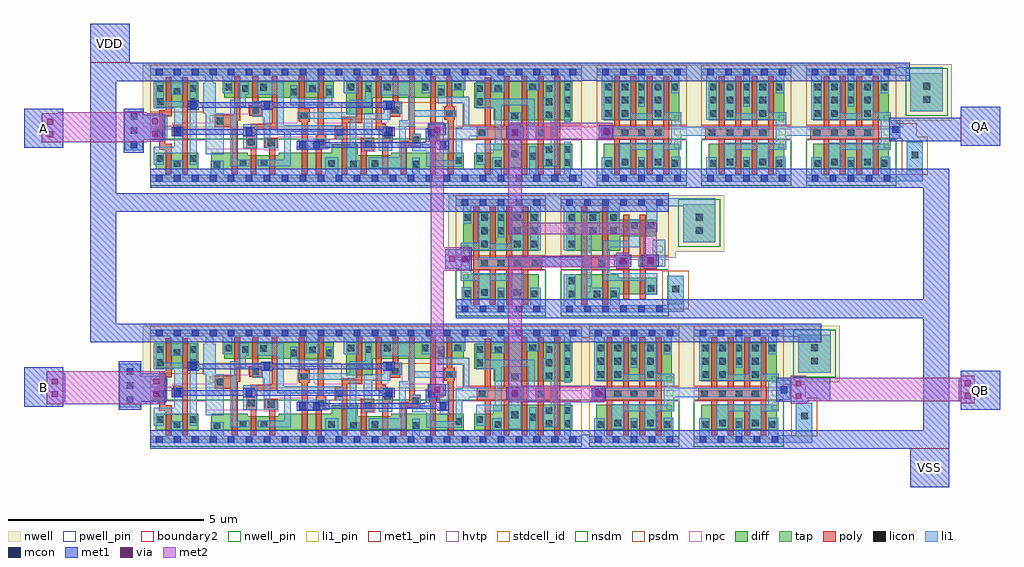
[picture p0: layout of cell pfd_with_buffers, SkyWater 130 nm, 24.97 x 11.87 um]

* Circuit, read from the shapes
.subckt pfd_with_buffers A B QA QB VDD VSS
XM1 VSS B n1 VSS sky130_fd_pr__nfet_01v8 w=0.42 l=0.15
XM2 VSS A n2 VSS sky130_fd_pr__nfet_01v8 w=0.42 l=0.15
XM3 n3 n1 VSS VSS sky130_fd_pr__nfet_01v8 w=0.42 l=0.15
XM4 n4 n2 VSS VSS sky130_fd_pr__nfet_01v8 w=0.42 l=0.15
XM5 n5 VDD VSS VSS sky130_fd_pr__nfet_01v8 w=0.42 l=0.15
XM6 n6 VDD VSS VSS sky130_fd_pr__nfet_01v8 w=0.42 l=0.15
XM7 n7 n1 n5 VSS sky130_fd_pr__nfet_01v8 w=0.36 l=0.15
XM8 n8 n2 n6 VSS sky130_fd_pr__nfet_01v8 w=0.36 l=0.15
XM9 n9 n3 n7 VSS sky130_fd_pr__nfet_01v8 w=0.36 l=0.15
XM10 n10 n4 n8 VSS sky130_fd_pr__nfet_01v8 w=0.36 l=0.15
XM11 n11 n12 n9 VSS sky130_fd_pr__nfet_01v8 w=0.42 l=0.15
XM12 n13 n14 n10 VSS sky130_fd_pr__nfet_01v8 w=0.42 l=0.15
XM13 VSS sky130_fd_sc_hd__dfrbp_2_0/RESET_B n11 VSS sky130_fd_pr__nfet_01v8 w=0.42 l=0.15
XM14 VSS sky130_fd_sc_hd__dfrbp_2_0/RESET_B n13 VSS sky130_fd_pr__nfet_01v8 w=0.42 l=0.15
XM15 n12 n7 VSS VSS sky130_fd_pr__nfet_01v8 w=0.64 l=0.15
XM16 n14 n8 VSS VSS sky130_fd_pr__nfet_01v8 w=0.64 l=0.15
XM17 n15 n3 n12 VSS sky130_fd_pr__nfet_01v8 w=0.36 l=0.15
XM18 n16 n4 n14 VSS sky130_fd_pr__nfet_01v8 w=0.36 l=0.15
XM19 n17 n1 n15 VSS sky130_fd_pr__nfet_01v8 w=0.36 l=0.15
XM20 n18 n2 n16 VSS sky130_fd_pr__nfet_01v8 w=0.36 l=0.15
XM21 VSS n19 n17 VSS sky130_fd_pr__nfet_01v8 w=0.42 l=0.15
XM22 VSS n20 n18 VSS sky130_fd_pr__nfet_01v8 w=0.42 l=0.15
XM23 n21 sky130_fd_sc_hd__dfrbp_2_0/RESET_B VSS VSS sky130_fd_pr__nfet_01v8 w=0.42 l=0.15
XM24 n22 sky130_fd_sc_hd__dfrbp_2_0/RESET_B VSS VSS sky130_fd_pr__nfet_01v8 w=0.42 l=0.15
XM25 n19 n15 n21 VSS sky130_fd_pr__nfet_01v8 w=0.42 l=0.15
XM26 n20 n16 n22 VSS sky130_fd_pr__nfet_01v8 w=0.42 l=0.15
XM27 sky130_fd_sc_hd__dfrbp_2_0/RESET_B sky130_fd_sc_hd__inv_4_3/A VSS VSS sky130_fd_pr__nfet_01v8 w=0.65 l=0.15 m=4
XM28 VSS n19 n23 VSS sky130_fd_pr__nfet_01v8 w=0.42 l=0.15
XM29 VSS n20 n24 VSS sky130_fd_pr__nfet_01v8 w=0.42 l=0.15
XM30 sky130_fd_sc_hd__inv_4_4/A n19 VSS VSS sky130_fd_pr__nfet_01v8 w=0.65 l=0.15 m=2
XM31 sky130_fd_sc_hd__and2_2_2/A n20 VSS VSS sky130_fd_pr__nfet_01v8 w=0.65 l=0.15 m=2
XM32 sky130_fd_sc_hd__dfrbp_2_1/Q_N n23 VSS VSS sky130_fd_pr__nfet_01v8 w=0.65 l=0.15 m=2
XM33 sky130_fd_sc_hd__dfrbp_2_0/Q_N n24 VSS VSS sky130_fd_pr__nfet_01v8 w=0.65 l=0.15 m=2
XM34 sky130_fd_sc_hd__inv_4_3/A n25 VSS VSS sky130_fd_pr__nfet_01v8 w=0.65 l=0.15 m=2
XM35 sky130_fd_sc_hd__inv_4_5/A sky130_fd_sc_hd__inv_4_4/A VSS VSS sky130_fd_pr__nfet_01v8 w=0.65 l=0.15 m=4
XM36 sky130_fd_sc_hd__inv_4_7/A sky130_fd_sc_hd__and2_2_2/A VSS VSS sky130_fd_pr__nfet_01v8 w=0.65 l=0.15 m=4
XM37 n26 sky130_fd_sc_hd__inv_4_4/A VSS VSS sky130_fd_pr__nfet_01v8 w=0.42 l=0.15
XM38 n25 sky130_fd_sc_hd__and2_2_2/A n26 VSS sky130_fd_pr__nfet_01v8 w=0.42 l=0.15
XM39 QB sky130_fd_sc_hd__inv_4_5/A VSS VSS sky130_fd_pr__nfet_01v8 w=0.65 l=0.15 m=4
XM40 sky130_fd_sc_hd__inv_4_8/A sky130_fd_sc_hd__inv_4_7/A VSS VSS sky130_fd_pr__nfet_01v8 w=0.65 l=0.15 m=4
XM41 QA sky130_fd_sc_hd__inv_4_8/A VSS VSS sky130_fd_pr__nfet_01v8 w=0.65 l=0.15 m=4
XM42 VDD B n1 VDD sky130_fd_pr__pfet_01v8_hvt w=0.64 l=0.15
XM43 VDD A n2 VDD sky130_fd_pr__pfet_01v8_hvt w=0.64 l=0.15
XM44 n3 n1 VDD VDD sky130_fd_pr__pfet_01v8_hvt w=0.64 l=0.15
XM45 n4 n2 VDD VDD sky130_fd_pr__pfet_01v8_hvt w=0.64 l=0.15
XM46 n5 VDD VDD VDD sky130_fd_pr__pfet_01v8_hvt w=0.42 l=0.15
XM47 n6 VDD VDD VDD sky130_fd_pr__pfet_01v8_hvt w=0.42 l=0.15
XM48 n7 n3 n5 VDD sky130_fd_pr__pfet_01v8_hvt w=0.42 l=0.15
XM49 n8 n4 n6 VDD sky130_fd_pr__pfet_01v8_hvt w=0.42 l=0.15
XM50 n27 n1 n7 VDD sky130_fd_pr__pfet_01v8_hvt w=0.42 l=0.15
XM51 n28 n2 n8 VDD sky130_fd_pr__pfet_01v8_hvt w=0.42 l=0.15
XM52 VDD n12 n27 VDD sky130_fd_pr__pfet_01v8_hvt w=0.42 l=0.15
XM53 VDD n14 n28 VDD sky130_fd_pr__pfet_01v8_hvt w=0.42 l=0.15
XM54 n27 sky130_fd_sc_hd__dfrbp_2_0/RESET_B VDD VDD sky130_fd_pr__pfet_01v8_hvt w=0.42 l=0.15
XM55 n28 sky130_fd_sc_hd__dfrbp_2_0/RESET_B VDD VDD sky130_fd_pr__pfet_01v8_hvt w=0.42 l=0.15
XM56 n12 n7 VDD VDD sky130_fd_pr__pfet_01v8_hvt w=0.84 l=0.15
XM57 n14 n8 VDD VDD sky130_fd_pr__pfet_01v8_hvt w=0.84 l=0.15
XM58 n15 n1 n12 VDD sky130_fd_pr__pfet_01v8_hvt w=0.42 l=0.15
XM59 n16 n2 n14 VDD sky130_fd_pr__pfet_01v8_hvt w=0.42 l=0.15
XM60 n29 n3 n15 VDD sky130_fd_pr__pfet_01v8_hvt w=0.42 l=0.15
XM61 n30 n4 n16 VDD sky130_fd_pr__pfet_01v8_hvt w=0.42 l=0.15
XM62 VDD n19 n29 VDD sky130_fd_pr__pfet_01v8_hvt w=0.42 l=0.15
XM63 VDD n20 n30 VDD sky130_fd_pr__pfet_01v8_hvt w=0.42 l=0.15
XM64 n19 sky130_fd_sc_hd__dfrbp_2_0/RESET_B VDD VDD sky130_fd_pr__pfet_01v8_hvt w=0.42 l=0.15
XM65 n20 sky130_fd_sc_hd__dfrbp_2_0/RESET_B VDD VDD sky130_fd_pr__pfet_01v8_hvt w=0.42 l=0.15
XM66 VDD n15 n19 VDD sky130_fd_pr__pfet_01v8_hvt w=0.42 l=0.15
XM67 VDD n16 n20 VDD sky130_fd_pr__pfet_01v8_hvt w=0.42 l=0.15
XM68 sky130_fd_sc_hd__dfrbp_2_0/RESET_B sky130_fd_sc_hd__inv_4_3/A VDD VDD sky130_fd_pr__pfet_01v8_hvt w=1 l=0.15 m=4
XM69 VDD n19 n23 VDD sky130_fd_pr__pfet_01v8_hvt w=0.64 l=0.15
XM70 VDD n20 n24 VDD sky130_fd_pr__pfet_01v8_hvt w=0.64 l=0.15
XM71 sky130_fd_sc_hd__inv_4_4/A n19 VDD VDD sky130_fd_pr__pfet_01v8_hvt w=1 l=0.15 m=2
XM72 sky130_fd_sc_hd__and2_2_2/A n20 VDD VDD sky130_fd_pr__pfet_01v8_hvt w=1 l=0.15 m=2
XM73 sky130_fd_sc_hd__dfrbp_2_1/Q_N n23 VDD VDD sky130_fd_pr__pfet_01v8_hvt w=1 l=0.15 m=2
XM74 sky130_fd_sc_hd__dfrbp_2_0/Q_N n24 VDD VDD sky130_fd_pr__pfet_01v8_hvt w=1 l=0.15 m=2
XM75 sky130_fd_sc_hd__inv_4_3/A n25 VDD VDD sky130_fd_pr__pfet_01v8_hvt w=1 l=0.15 m=2
XM76 sky130_fd_sc_hd__inv_4_5/A sky130_fd_sc_hd__inv_4_4/A VDD VDD sky130_fd_pr__pfet_01v8_hvt w=1 l=0.15 m=4
XM77 sky130_fd_sc_hd__inv_4_7/A sky130_fd_sc_hd__and2_2_2/A VDD VDD sky130_fd_pr__pfet_01v8_hvt w=1 l=0.15 m=4
XM78 n25 sky130_fd_sc_hd__inv_4_4/A VDD VDD sky130_fd_pr__pfet_01v8_hvt w=0.42 l=0.15
XM79 VDD sky130_fd_sc_hd__and2_2_2/A n25 VDD sky130_fd_pr__pfet_01v8_hvt w=0.42 l=0.15
XM80 QB sky130_fd_sc_hd__inv_4_5/A VDD VDD sky130_fd_pr__pfet_01v8_hvt w=1 l=0.15 m=4
XM81 sky130_fd_sc_hd__inv_4_8/A sky130_fd_sc_hd__inv_4_7/A VDD VDD sky130_fd_pr__pfet_01v8_hvt w=1 l=0.15 m=4
XM82 QA sky130_fd_sc_hd__inv_4_8/A VDD VDD sky130_fd_pr__pfet_01v8_hvt w=1 l=0.15 m=4
.ends

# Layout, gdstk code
from math import pi, radians
import gdstk
lib = gdstk.Library(unit=1e-6, precision=1e-09)
def R(c, l, rs):  # rectangles x0, y0, x1, y1
    for r in rs: c.add(gdstk.rectangle(r[:2], r[2:], *l))
def A(c, l, x, y, w, h, nx, ny, dx, dy):  # array of equal rectangles
    R(c, l, [(x+i*dx, y+j*dy, x+i*dx+w, y+j*dy+h) for i in range(nx) for j in range(ny)])
def P(c, l, *ps):  # polygons
    for p in ps: c.add(gdstk.Polygon(p, *l))
nwell_pin = (64, 16)
nwell = (64, 20)
diff = (65, 20)
tap = (65, 44)
poly = (66, 20)
licon = (66, 44)
li1_pin = (67, 16)
li1 = (67, 20)
mcon = (67, 44)
met1_pin = (68, 16)
met1 = (68, 20)
via = (68, 44)
met2 = (69, 20)
hvtp = (78, 44)
stdcell_id = (81, 4)
nsdm = (93, 44)
psdm = (94, 20)
npc = (95, 20)
pwell_pin = (122, 16)
boundary2 = (236, 0)

sky130_fd_sc_hd__dfrbp_2 = lib.new_cell('sky130_fd_sc_hd__dfrbp_2')
R(sky130_fd_sc_hd__dfrbp_2, nwell_pin, [(0.145,2.635,0.315,2.805)])
R(sky130_fd_sc_hd__dfrbp_2, nwell, [(-0.19,1.305,11.23,2.91)])
R(sky130_fd_sc_hd__dfrbp_2, diff, [(0.135,0.235,1.225,0.655), (0.135,1.815,1.225,2.455), (3.305,2.065,4.7,2.485)])
P(sky130_fd_sc_hd__dfrbp_2, diff, [(8.015,2.485),(5.015,2.485),(5.015,1.645),(5.695,1.645),(5.695,2.065),(8.015,2.065)],
  [(10.8,0.885),(8.78,0.885),(8.78,0.655),(8.295,0.655),(8.295,0.235),(10.8,0.235)],
  [(8.025,0.655),(6.165,0.655),(6.165,0.595),(5.315,0.595),(5.315,0.875),(4.645,0.875),(4.645,0.655),(3.285,0.655),(3.285,0.595),(2.49,0.595),(2.49,0.655),(1.565,0.655),(1.565,0.235),(8.025,0.235)],
  [(3.335,2.485),(1.89,2.485),(1.89,2.065),(3.33,2.065),(3.33,2.48),(3.335,2.48)],
  [(10.8,2.485),(8.79,2.485),(8.79,2.445),(8.295,2.445),(8.295,1.805),(8.79,1.805),(8.79,1.485),(10.8,1.485)])
R(sky130_fd_sc_hd__dfrbp_2, poly, [(3.875,0.105,4.025,1.515), (4.29,1.055,4.44,2.615), (3.805,1.445,4.08,1.775), (3.805,1.76,3.955,2.615)])
P(sky130_fd_sc_hd__dfrbp_2, poly, [(7.79,1.825),(7.73,1.825),(7.73,2.615),(7.58,2.615),(7.58,1.825),(7.52,1.825),(7.52,1.495),(7.615,1.495),(7.615,0.105),(7.765,0.105),(7.765,1.495),(7.79,1.495)],
  [(10.49,2.615),(10.34,2.615),(10.34,1.325),(10.07,1.325),(10.07,2.615),(9.92,2.615),(9.92,1.325),(9.86,1.325),(9.86,0.995),(9.92,0.995),(9.92,0.105),(10.07,0.105),(10.07,0.995),(10.34,0.995),(10.34,0.105),(10.49,0.105)],
  [(0.545,0.88),(0.38,0.88),(0.38,1.59),(0.545,1.59),(0.545,2.585),(0.395,2.585),(0.395,1.74),(0.23,1.74),(0.23,1.325),(0.11,1.325),(0.11,0.995),(0.23,0.995),(0.23,0.73),(0.395,0.73),(0.395,0.105),(0.545,0.105)],
  [(0.965,2.585),(0.815,2.585),(0.815,1.37),(0.59,1.37),(0.59,1.1),(0.815,1.1),(0.815,0.105),(0.965,0.105)],
  [(2.3,2.615),(2.15,2.615),(2.15,1.63),(1.655,1.63),(1.655,1.3),(2.09,1.3),(2.09,0.105),(2.24,0.105),(2.24,1.48),(2.3,1.48)],
  [(3.255,2.615),(3.105,2.615),(3.105,1.395),(2.565,1.395),(2.565,1.095),(2.45,1.095),(2.45,0.765),(2.565,0.765),(2.565,0.105),(2.715,0.105),(2.715,0.765),(2.72,0.765),(2.72,1.245),(3.255,1.245)],
  [(2.86,1.875),(2.76,1.875),(2.76,2.615),(2.61,2.615),(2.61,1.875),(2.53,1.875),(2.53,1.605),(2.86,1.605)],
  [(3.26,1.035),(2.93,1.035),(2.93,0.765),(3.045,0.765),(3.045,0.105),(3.195,0.105),(3.195,0.765),(3.26,0.765)],
  [(4.505,1.095),(4.235,1.095),(4.235,0.105),(4.385,0.105),(4.385,0.765),(4.505,0.765)],
  [(5.425,2.615),(5.275,2.615),(5.275,1.57),(4.895,1.57),(4.895,1.335),(4.715,1.335),(4.715,1.005),(4.895,1.005),(4.895,0.105),(5.045,0.105),(5.045,1.42),(5.425,1.42)],
  [(5.725,1.035),(5.39,1.035),(5.39,0.105),(5.54,0.105),(5.54,0.705),(5.725,0.705)],
  [(6.205,1.275),(6.085,1.275),(6.085,1.335),(6.02,1.335),(6.02,1.395),(5.92,1.395),(5.92,2.615),(5.77,2.615),(5.77,1.245),(5.875,1.245),(5.875,1.185),(5.935,1.185),(5.935,0.105),(6.085,0.105),(6.085,0.945),(6.205,0.945)],
  [(6.4,1.905),(6.35,1.905),(6.35,2.615),(6.2,2.615),(6.2,1.905),(6.13,1.905),(6.13,1.575),(6.4,1.575)],
  [(6.925,1.145),(6.77,1.145),(6.77,2.615),(6.62,2.615),(6.62,0.965),(6.415,0.965),(6.415,0.105),(6.565,0.105),(6.565,0.815),(6.925,0.815)],
  [(7.405,1.285),(7.31,1.285),(7.31,2.615),(7.16,2.615),(7.16,1.285),(7.135,1.285),(7.135,0.955),(7.16,0.955),(7.16,0.105),(7.31,0.105),(7.31,0.955),(7.405,0.955)],
  [(9.65,2.615),(9.5,2.615),(9.5,1.325),(9.19,1.325),(9.19,2.615),(9.04,2.615),(9.04,1.325),(8.705,1.325),(8.705,2.575),(8.555,2.575),(8.555,1.325),(8.35,1.325),(8.35,0.995),(8.555,0.995),(8.555,0.105),(8.705,0.105),(8.705,0.995),(9.04,0.995),(9.04,0.105),(9.19,0.105),(9.19,0.995),(9.5,0.995),(9.5,0.105),(9.65,0.105)])
A(sky130_fd_sc_hd__dfrbp_2, licon, 10.12, 1.535, 0.17, 0.17, 1, 3, 0, 0.34)
A(sky130_fd_sc_hd__dfrbp_2, licon, 10.59, 1.575, 0.17, 0.17, 1, 3, 0, 0.34)
R(sky130_fd_sc_hd__dfrbp_2, licon, [(1.625,0.275,1.795,0.445), (5.115,0.275,5.285,0.445), (6.725,0.275,6.895,0.445), (0.595,0.295,0.765,0.465), (4.555,0.295,4.725,0.465), (5.665,0.295,5.835,0.465), (8.82,0.295,8.99,0.465), (2.29,0.305,2.46,0.475), (2.825,0.305,2.995,0.475), (10.12,0.315,10.29,0.485), (10.59,0.315,10.76,0.485), (7.815,0.375,7.985,0.545), (0.175,0.425,0.345,0.595), (1.015,0.425,1.185,0.595), (8.335,0.425,8.505,0.595), (9.7,0.48,9.87,0.65), (9.24,0.545,9.41,0.715), (10.12,0.655,10.29,0.825), (10.59,0.655,10.76,0.825), (5.505,0.785,5.675,0.955), (3.01,0.815,3.18,0.985), (2.5,0.845,2.67,1.015), (4.285,0.845,4.455,1.015), (6.705,0.895,6.875,1.065), (5.985,1.025,6.155,1.195), (7.185,1.035,7.355,1.205), (0.16,1.075,0.33,1.245), (8.4,1.075,8.57,1.245), (9.91,1.075,10.08,1.245), (4.765,1.085,4.935,1.255), (0.67,1.15,0.84,1.32), (1.705,1.38,1.875,1.55), (3.855,1.525,4.025,1.695), (9.24,1.525,9.41,1.695), (7.57,1.575,7.74,1.745), (2.61,1.655,2.78,1.825), (6.18,1.655,6.35,1.825), (0.175,1.875,0.345,2.045), (1.015,1.875,1.185,2.045), (8.335,1.875,8.505,2.045), (3.585,2.125,3.755,2.295), (4.49,2.125,4.66,2.295), (7.36,2.125,7.53,2.295), (0.595,2.135,0.765,2.305), (4.07,2.205,4.24,2.375), (8.82,2.205,8.99,2.375), (0.175,2.215,0.345,2.385), (1.015,2.215,1.185,2.385), (2.35,2.215,2.52,2.385), (5.495,2.215,5.665,2.385), (8.335,2.215,8.505,2.385), (2.815,2.245,2.985,2.415), (5.98,2.25,6.15,2.42), (1.93,2.255,2.1,2.425), (5.055,2.255,5.225,2.425), (6.94,2.255,7.11,2.425), (7.79,2.255,7.96,2.425), (9.7,2.255,9.87,2.425)])
R(sky130_fd_sc_hd__dfrbp_2, li1_pin, [(7.405,0.765,7.575,0.935), (9.255,1.065,9.415,1.245), (0.15,1.105,0.32,1.275), (7.405,1.105,7.575,1.275), (10.275,1.11,10.39,1.285), (0.15,1.445,0.32,1.615), (1.525,1.445,1.695,1.615)])
R(sky130_fd_sc_hd__dfrbp_2, li1, [(0,-0.085,9.2,0.085), (1.545,-0.03,1.875,0.445), (8.755,0.02,8.99,0.545), (10.59,0.025,10.76,0.93), (9.7,0.035,9.87,0.825), (4.475,0.055,4.805,0.545), (0.515,0.06,0.845,0.465), (6.705,0.065,6.895,0.525), (9.16,0.265,9.495,1.695), (1.015,0.345,1.185,2.465), (1.415,0.615,1.875,1.665), (5.845,0.705,6.195,1.325), (2.385,0.765,2.735,1.385), (3.805,0.765,4.595,1.015), (0.09,0.975,0.44,1.625), (8.145,1.075,8.65,1.325), (10.59,1.445,10.76,2.715), (3.775,1.525,5.13,1.695), (1.355,1.665,1.68,2.45), (0.515,2.135,0.845,2.665), (4.955,2.175,5.325,2.675), (6.94,2.175,7.19,2.69), (3.99,2.205,4.32,2.69), (8.73,2.205,9.07,2.675), (7.71,2.255,8.055,2.7), (9.62,2.255,9.95,2.675)])
P(sky130_fd_sc_hd__dfrbp_2, li1, [(0.84,1.965),(0.345,1.965),(0.345,2.465),(0.09,2.465),(0.09,1.795),(0.61,1.795),(0.61,0.805),(0.09,0.805),(0.09,0.345),(0.345,0.345),(0.345,0.635),(0.84,0.635)],
  [(2.54,0.475),(2.215,0.475),(2.215,1.835),(2.44,1.835),(2.44,2.135),(2.52,2.135),(2.52,2.465),(2.27,2.465),(2.27,2.005),(2.045,2.005),(2.045,0.305),(2.54,0.305)],
  [(3.26,0.985),(3.075,0.985),(3.075,1.965),(2.61,1.965),(2.61,1.575),(2.905,1.575),(2.905,0.765),(3.26,0.765)],
  [(4.935,1.355),(3.415,1.355),(3.415,2.465),(2.735,2.465),(2.735,2.135),(3.245,2.135),(3.245,1.185),(3.43,1.185),(3.43,0.475),(2.745,0.475),(2.745,0.305),(3.6,0.305),(3.6,1.185),(4.765,1.185),(4.765,1.005),(4.935,1.005)],
  [(5.665,2.465),(5.495,2.465),(5.495,2.005),(5.105,2.005),(5.105,0.835),(5.015,0.835),(5.015,0.275),(5.365,0.275),(5.365,0.445),(5.275,0.445),(5.275,1.835),(5.665,1.835)],
  [(6.43,1.955),(5.97,1.955),(5.97,1.665),(5.465,1.665),(5.465,0.705),(5.675,0.705),(5.675,1.495),(6.14,1.495),(6.14,1.655),(6.43,1.655)],
  [(7.645,1.405),(7.105,1.405),(7.105,1.035),(7.405,1.035),(7.405,0.635),(7.645,0.635)],
  [(7.82,1.745),(6.77,1.745),(6.77,2.465),(5.9,2.465),(5.9,2.125),(6.6,2.125),(6.6,1.485),(6.365,1.485),(6.365,0.535),(5.585,0.535),(5.585,0.255),(6.535,0.255),(6.535,1.315),(6.77,1.315),(6.77,1.575),(7.82,1.575)],
  [(9.2,2.805),(0,2.805),(0,2.635),(1.85,2.635),(1.85,2.175),(2.1,2.175),(2.1,2.635),(9.2,2.635)],
  [(8.16,2.085),(7.53,2.085),(7.53,2.375),(7.36,2.375),(7.36,1.915),(7.99,1.915),(7.99,1.295),(7.815,1.295),(7.815,0.465),(7.235,0.465),(7.235,0.865),(6.925,0.865),(6.925,1.145),(6.705,1.145),(6.705,0.695),(7.065,0.695),(7.065,0.295),(7.985,0.295),(7.985,0.995),(8.16,0.995)],
  [(10.42,2.465),(10.12,2.465),(10.12,2.08),(10.03,2.08),(10.03,1.535),(10.25,1.535),(10.25,0.825),(10.04,0.825),(10.04,0.31),(10.42,0.31)],
  [(10.08,1.325),(9.835,1.325),(9.835,2.035),(8.56,2.035),(8.56,2.465),(8.335,2.465),(8.335,1.795),(8.82,1.795),(8.82,0.885),(8.335,0.885),(8.335,0.345),(8.585,0.345),(8.585,0.715),(8.99,0.715),(8.99,1.865),(9.665,1.865),(9.665,0.995),(10.08,0.995)],
  [(4.66,2.375),(4.49,2.375),(4.49,2.035),(3.755,2.035),(3.755,2.375),(3.585,2.375),(3.585,1.865),(4.66,1.865)])
A(sky130_fd_sc_hd__dfrbp_2, mcon, 0.145, -0.085, 0.17, 0.17, 24, 2, 0.46, 2.72)
R(sky130_fd_sc_hd__dfrbp_2, mcon, [(3.805,0.765,3.975,0.935), (4.165,0.765,4.335,0.935), (7.405,0.765,7.575,0.935), (7.105,1.08,7.275,1.25), (0.61,1.105,0.78,1.275), (2.445,1.105,2.615,1.275), (6.025,1.105,6.195,1.275), (1.015,1.785,1.185,1.955), (2.905,1.785,3.075,1.955), (6.025,1.785,6.195,1.955)])
R(sky130_fd_sc_hd__dfrbp_2, met1_pin, [(0.145,-0.085,0.315,0.085), (0.145,2.635,0.315,2.805)])
R(sky130_fd_sc_hd__dfrbp_2, met1, [(7.045,0.91,7.335,1.28), (0.55,1.075,0.84,1.305), (5.965,1.075,6.255,1.305), (0.955,1.755,1.245,1.985), (5.965,1.755,6.255,1.985)])
P(sky130_fd_sc_hd__dfrbp_2, met1, [(7.635,0.965),(7.335,0.965),(7.335,0.92),(4.395,0.92),(4.395,0.965),(3.745,0.965),(3.745,0.735),(4.395,0.735),(4.395,0.78),(7.345,0.78),(7.345,0.735),(7.635,0.735)],
  [(6.075,1.94),(3.135,1.94),(3.135,1.985),(2.845,1.985),(2.845,1.94),(1.185,1.94),(1.185,1.8),(2.845,1.8),(2.845,1.755),(3.135,1.755),(3.135,1.8),(6.075,1.8)],
  [(6.045,1.26),(2.675,1.26),(2.675,1.305),(2.385,1.305),(2.385,1.26),(0.82,1.26),(0.82,1.12),(2.385,1.12),(2.385,1.075),(2.675,1.075),(2.675,1.12),(6.045,1.12)])
A(sky130_fd_sc_hd__dfrbp_2, hvtp, 9.2, 1.25, 0.46, 1.47, 4, 1, 0.46, 0)
R(sky130_fd_sc_hd__dfrbp_2, hvtp, [(0,1.25,9.2,2.72)])
R(sky130_fd_sc_hd__dfrbp_2, stdcell_id, [(0,0,11.04,2.72)])
R(sky130_fd_sc_hd__dfrbp_2, nsdm, [(0,-0.19,11.04,1.015)])
P(sky130_fd_sc_hd__dfrbp_2, psdm, [(11.04,2.91),(0,2.91),(0,1.685),(1.35,1.685),(1.35,1.935),(4.885,1.935),(4.885,1.515),(5.825,1.515),(5.825,1.935),(8.02,1.935),(8.02,1.355),(11.04,1.355)])
R(sky130_fd_sc_hd__dfrbp_2, npc, [(3.755,1.365,4.195,1.795)])
P(sky130_fd_sc_hd__dfrbp_2, npc, [(11.04,1.345),(7.84,1.345),(7.84,1.845),(7.47,1.845),(7.47,1.42),(6.45,1.42),(6.45,1.925),(6.08,1.925),(6.08,1.42),(2.88,1.42),(2.88,1.925),(2.51,1.925),(2.51,1.65),(1.6,1.65),(1.6,1.42),(0.565,1.42),(0.565,1.345),(0,1.345),(0,0.975),(1.425,0.975),(1.425,0.745),(2.91,0.745),(2.91,0.715),(3.28,0.715),(3.28,1.05),(4.185,1.05),(4.185,0.745),(4.555,0.745),(4.555,0.985),(5.055,0.985),(5.055,1.05),(5.405,1.05),(5.405,0.685),(5.775,0.685),(5.775,0.925),(6.605,0.925),(6.605,0.795),(6.975,0.795),(6.975,0.935),(7.455,0.935),(7.455,0.975),(11.04,0.975)])
R(sky130_fd_sc_hd__dfrbp_2, pwell_pin, [(0.145,-0.085,0.315,0.085)])
R(sky130_fd_sc_hd__dfrbp_2, boundary2, [(0,0,11.04,2.72)])
sky130_fd_sc_hd__dfrbp_2.add(gdstk.FlexPath([(0,0),(9.2,0)], 0.48, ends="flush", simple_path=True, layer=68, datatype=20))  # met1
sky130_fd_sc_hd__dfrbp_2.add(gdstk.FlexPath([(0,2.72),(9.2,2.72)], 0.48, ends="flush", simple_path=True, layer=68, datatype=20))  # met1
sky130_fd_sc_hd__dfrbp_2.add(gdstk.FlexPath([(10.12,0),(10.58,0)], 0.48, ends="flush", simple_path=True, layer=68, datatype=20))  # met1
sky130_fd_sc_hd__dfrbp_2.add(gdstk.FlexPath([(10.12,2.72),(10.58,2.72)], 0.48, ends="flush", simple_path=True, layer=68, datatype=20))  # met1
sky130_fd_sc_hd__dfrbp_2.add(gdstk.FlexPath([(10.58,2.72),(11.04,2.72)], 0.48, ends="flush", simple_path=True, layer=68, datatype=20))  # met1
sky130_fd_sc_hd__dfrbp_2.add(gdstk.FlexPath([(10.58,0),(11.04,0)], 0.48, ends="flush", simple_path=True, layer=68, datatype=20))  # met1
sky130_fd_sc_hd__dfrbp_2.add(gdstk.FlexPath([(9.2,0),(9.66,0)], 0.48, ends="flush", simple_path=True, layer=68, datatype=20))  # met1
sky130_fd_sc_hd__dfrbp_2.add(gdstk.FlexPath([(9.2,2.72),(9.66,2.72)], 0.48, ends="flush", simple_path=True, layer=68, datatype=20))  # met1
sky130_fd_sc_hd__dfrbp_2.add(gdstk.FlexPath([(9.66,0),(10.12,0)], 0.48, ends="flush", simple_path=True, layer=68, datatype=20))  # met1
sky130_fd_sc_hd__dfrbp_2.add(gdstk.FlexPath([(9.66,2.72),(10.12,2.72)], 0.48, ends="flush", simple_path=True, layer=68, datatype=20))  # met1
sky130_fd_sc_hd__dfrbp_2.add(gdstk.FlexPath([(10.12,2.72),(10.58,2.72)], 0.17, ends="flush", simple_path=True, layer=67, datatype=20))  # li1
sky130_fd_sc_hd__dfrbp_2.add(gdstk.FlexPath([(10.12,0),(10.58,0)], 0.17, ends="flush", simple_path=True, layer=67, datatype=20))  # li1
sky130_fd_sc_hd__dfrbp_2.add(gdstk.FlexPath([(10.58,0),(11.04,0)], 0.17, ends="flush", simple_path=True, layer=67, datatype=20))  # li1
sky130_fd_sc_hd__dfrbp_2.add(gdstk.FlexPath([(10.58,2.72),(11.04,2.72)], 0.17, ends="flush", simple_path=True, layer=67, datatype=20))  # li1
sky130_fd_sc_hd__dfrbp_2.add(gdstk.FlexPath([(9.2,2.72),(9.66,2.72)], 0.17, ends="flush", simple_path=True, layer=67, datatype=20))  # li1
sky130_fd_sc_hd__dfrbp_2.add(gdstk.FlexPath([(9.2,0),(9.66,0)], 0.17, ends="flush", simple_path=True, layer=67, datatype=20))  # li1
sky130_fd_sc_hd__dfrbp_2.add(gdstk.FlexPath([(9.66,2.72),(10.12,2.72)], 0.17, ends="flush", simple_path=True, layer=67, datatype=20))  # li1
sky130_fd_sc_hd__dfrbp_2.add(gdstk.FlexPath([(9.66,0),(10.12,0)], 0.17, ends="flush", simple_path=True, layer=67, datatype=20))  # li1
sky130_fd_sc_hd__dfrbp_2.add(gdstk.Label('Q', (9.335,1.155), layer=67, texttype=5))
sky130_fd_sc_hd__dfrbp_2.add(gdstk.Label('Q_N', (10.335,1.2), layer=67, texttype=5))
sky130_fd_sc_hd__dfrbp_2.add(gdstk.Label('RESET_B', (7.49,0.85), layer=67, texttype=5))
sky130_fd_sc_hd__dfrbp_2.add(gdstk.Label('D', (1.61,1.53), layer=67, texttype=5))
sky130_fd_sc_hd__dfrbp_2.add(gdstk.Label('CLK', (0.235,1.53), layer=67, texttype=5))
sky130_fd_sc_hd__dfrbp_2.add(gdstk.Label('CLK', (0.235,1.19), layer=67, texttype=5))
sky130_fd_sc_hd__dfrbp_2.add(gdstk.Label('RESET_B', (7.49,1.19), layer=67, texttype=5))
sky130_fd_sc_hd__dfrbp_2.add(gdstk.Label('VGND', (0.23,0), layer=68, texttype=5))
sky130_fd_sc_hd__dfrbp_2.add(gdstk.Label('VPWR', (0.23,2.72), layer=68, texttype=5))
sky130_fd_sc_hd__dfrbp_2.add(gdstk.Label('VPB', (0.23,2.72), layer=64, texttype=5))
sky130_fd_sc_hd__dfrbp_2.add(gdstk.Label('VNB', (0.23,0), layer=64, texttype=59))
sky130_fd_sc_hd__dfrbp_2.add(gdstk.Label('dfrbp_2', (0,0), layer=83, texttype=44))

sky130_fd_sc_hd__and2_2 = lib.new_cell('sky130_fd_sc_hd__and2_2')
R(sky130_fd_sc_hd__and2_2, nwell_pin, [(0.145,2.635,0.315,2.805)])
R(sky130_fd_sc_hd__and2_2, nwell, [(-0.19,1.305,2.95,2.91)])
P(sky130_fd_sc_hd__and2_2, diff, [(2.615,2.485),(1.285,2.485),(1.285,2.275),(0.305,2.275),(0.305,1.855),(1.235,1.855),(1.235,1.485),(2.615,1.485)],
  [(2.615,0.885),(1.285,0.885),(1.285,0.795),(0.305,0.795),(0.305,0.375),(1.285,0.375),(1.285,0.235),(2.615,0.235)])
P(sky130_fd_sc_hd__and2_2, poly, [(0.735,2.405),(0.585,2.405),(0.585,1.325),(0.3,1.325),(0.3,0.995),(0.585,0.995),(0.585,0.245),(0.735,0.245)],
  [(1.335,1.325),(1.155,1.325),(1.155,2.405),(1.005,2.405),(1.005,0.245),(1.155,0.245),(1.155,0.995),(1.335,0.995)],
  [(2.235,2.615),(2.085,2.615),(2.085,1.325),(1.695,1.325),(1.695,2.615),(1.545,2.615),(1.545,0.105),(1.695,0.105),(1.695,0.995),(2.085,0.995),(2.085,0.105),(2.235,0.105)])
A(sky130_fd_sc_hd__and2_2, licon, 2.385, 1.575, 0.17, 0.17, 1, 3, 0, 0.34)
R(sky130_fd_sc_hd__and2_2, licon, [(1.325,0.295,1.495,0.465), (1.745,0.295,1.915,0.465), (2.385,0.295,2.555,0.465), (0.365,0.435,0.535,0.605), (2.385,0.635,2.555,0.805), (0.38,1.075,0.55,1.245), (1.085,1.075,1.255,1.245), (1.625,1.075,1.795,1.245), (1.325,1.915,1.495,2.085), (1.845,1.915,2.015,2.085), (0.365,2.045,0.535,2.215), (0.785,2.045,0.955,2.215), (1.325,2.255,1.495,2.425), (1.845,2.255,2.015,2.425)])
A(sky130_fd_sc_hd__and2_2, li1_pin, 1.985, 0.425, 0.17, 0.17, 1, 6, 0, 0.34)
A(sky130_fd_sc_hd__and2_2, li1_pin, 0.145, 1.105, 0.17, 0.17, 3, 1, 0.46, 0)
R(sky130_fd_sc_hd__and2_2, li1_pin, [(0.145,1.445,0.315,1.615)])
R(sky130_fd_sc_hd__and2_2, li1, [(1.005,1.075,1.335,1.325)])
P(sky130_fd_sc_hd__and2_2, li1, [(0.085,1.075),(0.085,1.765),(0.4,1.765),(0.4,1.325),(0.775,1.325),(0.775,1.075)],
  [(1.795,1.325),(1.675,1.325),(1.675,1.745),(1.035,1.745),(1.035,2.295),(0.735,2.295),(0.735,1.575),(1.505,1.575),(1.505,0.905),(0.285,0.905),(0.285,0.355),(0.615,0.355),(0.615,0.715),(1.675,0.715),(1.675,0.995),(1.795,0.995)],
  [(2.76,0.085),(2.675,0.085),(2.675,0.885),(2.385,0.885),(2.385,0.085),(1.495,0.085),(1.495,0.545),(1.245,0.545),(1.245,0.085),(0,0.085),(0,-0.085),(2.76,-0.085)],
  [(2.215,2.465),(1.765,2.465),(1.765,1.915),(1.965,1.915),(1.965,0.545),(1.665,0.545),(1.665,0.255),(2.215,0.255)],
  [(2.76,2.805),(0,2.805),(0,2.635),(0.285,2.635),(0.285,1.965),(0.565,1.965),(0.565,2.635),(1.245,2.635),(1.245,1.915),(1.575,1.915),(1.575,2.635),(2.385,2.635),(2.385,1.495),(2.675,1.495),(2.675,2.635),(2.76,2.635)])
A(sky130_fd_sc_hd__and2_2, mcon, 0.145, -0.085, 0.17, 0.17, 6, 2, 0.46, 2.72)
R(sky130_fd_sc_hd__and2_2, met1_pin, [(0.145,-0.085,0.315,0.085), (0.145,2.635,0.315,2.805)])
R(sky130_fd_sc_hd__and2_2, hvtp, [(0,1.25,2.76,2.72)])
R(sky130_fd_sc_hd__and2_2, stdcell_id, [(0,0,2.76,2.72)])
R(sky130_fd_sc_hd__and2_2, nsdm, [(0,-0.19,2.76,1.015)])
R(sky130_fd_sc_hd__and2_2, psdm, [(0,1.355,2.76,2.91)])
R(sky130_fd_sc_hd__and2_2, npc, [(0,0.975,2.76,1.345)])
R(sky130_fd_sc_hd__and2_2, pwell_pin, [(0.145,-0.085,0.315,0.085)])
R(sky130_fd_sc_hd__and2_2, boundary2, [(0,0,2.76,2.72)])
sky130_fd_sc_hd__and2_2.add(gdstk.FlexPath([(0,0),(2.76,0)], 0.48, ends="flush", simple_path=True, layer=68, datatype=20))  # met1
sky130_fd_sc_hd__and2_2.add(gdstk.FlexPath([(0,2.72),(2.76,2.72)], 0.48, ends="flush", simple_path=True, layer=68, datatype=20))  # met1
sky130_fd_sc_hd__and2_2.add(gdstk.Label('VPWR', (0.23,2.72), layer=68, texttype=5))
sky130_fd_sc_hd__and2_2.add(gdstk.Label('VGND', (0.23,0), layer=68, texttype=5))
sky130_fd_sc_hd__and2_2.add(gdstk.Label('A', (0.69,1.19), layer=67, texttype=5))
sky130_fd_sc_hd__and2_2.add(gdstk.Label('X', (2.07,0.85), layer=67, texttype=5))
sky130_fd_sc_hd__and2_2.add(gdstk.Label('A', (0.23,1.19), layer=67, texttype=5))
sky130_fd_sc_hd__and2_2.add(gdstk.Label('X', (2.07,0.51), layer=67, texttype=5))
sky130_fd_sc_hd__and2_2.add(gdstk.Label('X', (2.07,1.19), layer=67, texttype=5))
sky130_fd_sc_hd__and2_2.add(gdstk.Label('X', (2.07,1.53), layer=67, texttype=5))
sky130_fd_sc_hd__and2_2.add(gdstk.Label('X', (2.07,1.87), layer=67, texttype=5))
sky130_fd_sc_hd__and2_2.add(gdstk.Label('X', (2.07,2.21), layer=67, texttype=5))
sky130_fd_sc_hd__and2_2.add(gdstk.Label('B', (1.15,1.19), layer=67, texttype=5))
sky130_fd_sc_hd__and2_2.add(gdstk.Label('VPB', (0.23,2.72), layer=64, texttype=5))
sky130_fd_sc_hd__and2_2.add(gdstk.Label('VNB', (0.23,0), layer=64, texttype=59))
sky130_fd_sc_hd__and2_2.add(gdstk.Label('and2_2', (0,0), layer=83, texttype=44))

sky130_fd_sc_hd__inv_4 = lib.new_cell('sky130_fd_sc_hd__inv_4')
R(sky130_fd_sc_hd__inv_4, nwell_pin, [(0.145,2.635,0.315,2.805)])
R(sky130_fd_sc_hd__inv_4, nwell, [(-0.19,1.305,2.49,2.91)])
R(sky130_fd_sc_hd__inv_4, diff, [(0.185,0.235,2.115,0.885), (0.185,1.485,2.115,2.485)])
P(sky130_fd_sc_hd__inv_4, poly, [(1.855,2.615),(1.705,2.615),(1.705,1.325),(1.435,1.325),(1.435,2.615),(1.285,2.615),(1.285,1.325),(1.015,1.325),(1.015,2.615),(0.865,2.615),(0.865,1.325),(0.595,1.325),(0.595,2.615),(0.445,2.615),(0.445,1.325),(0.105,1.325),(0.105,0.995),(0.445,0.995),(0.445,0.105),(0.595,0.105),(0.595,0.995),(0.865,0.995),(0.865,0.105),(1.015,0.105),(1.015,0.995),(1.285,0.995),(1.285,0.105),(1.435,0.105),(1.435,0.995),(1.705,0.995),(1.705,0.105),(1.855,0.105)])
A(sky130_fd_sc_hd__inv_4, licon, 0.645, 1.075, 0.17, 0.17, 3, 1, 0.42, 0)
A(sky130_fd_sc_hd__inv_4, licon, 0.225, 1.915, 0.17, 0.17, 4, 1, 0.42, 0)
A(sky130_fd_sc_hd__inv_4, licon, 0.225, 2.255, 0.17, 0.17, 5, 1, 0.42, 0)
R(sky130_fd_sc_hd__inv_4, licon, [(0.225,0.295,0.395,0.465), (1.065,0.295,1.235,0.465), (1.905,0.3,2.075,0.47), (0.645,0.335,0.815,0.505), (1.485,0.335,1.655,0.505), (0.185,1.075,0.355,1.245), (0.225,1.575,0.395,1.745), (0.645,1.575,0.815,1.745), (1.485,1.575,1.655,1.745)])
A(sky130_fd_sc_hd__inv_4, li1_pin, 0.145, 1.105, 0.17, 0.17, 5, 1, 0.46, 0)
R(sky130_fd_sc_hd__inv_4, li1_pin, [(1.985,0.765,2.155,0.935), (1.985,1.445,2.155,1.615)])
R(sky130_fd_sc_hd__inv_4, li1, [(0.105,1.075,1.735,1.325)])
P(sky130_fd_sc_hd__inv_4, li1, [(2.3,0.085),(2.155,0.085),(2.155,0.55),(1.905,0.55),(1.905,0.085),(1.235,0.085),(1.235,0.545),(1.065,0.545),(1.065,0.085),(0.395,0.085),(0.395,0.545),(0.13,0.545),(0.13,0.085),(0,0.085),(0,-0.085),(2.3,-0.085)],
  [(2.3,2.805),(0,2.805),(0,2.635),(0.13,2.635),(0.13,1.495),(0.395,1.495),(0.395,2.635),(1.065,2.635),(1.065,1.835),(1.235,1.835),(1.235,2.635),(1.905,2.635),(1.905,2.175),(2.115,2.175),(2.115,2.635),(2.3,2.635)],
  [(2.17,1.685),(1.735,1.685),(1.735,2.465),(1.405,2.465),(1.405,1.665),(0.895,1.665),(0.895,2.465),(0.565,2.465),(0.565,1.495),(1.905,1.495),(1.905,0.905),(0.565,0.905),(0.565,0.255),(0.895,0.255),(0.895,0.725),(1.405,0.725),(1.405,0.255),(1.735,0.255),(1.735,0.725),(2.17,0.725)])
A(sky130_fd_sc_hd__inv_4, mcon, 0.145, -0.085, 0.17, 0.17, 5, 2, 0.46, 2.72)
R(sky130_fd_sc_hd__inv_4, met1_pin, [(0.145,-0.085,0.315,0.085), (0.145,2.635,0.315,2.805)])
R(sky130_fd_sc_hd__inv_4, hvtp, [(0,1.25,2.3,2.72)])
R(sky130_fd_sc_hd__inv_4, stdcell_id, [(0,0,2.3,2.72)])
R(sky130_fd_sc_hd__inv_4, nsdm, [(0,-0.19,2.3,1.015)])
R(sky130_fd_sc_hd__inv_4, psdm, [(0,1.355,2.3,2.91)])
R(sky130_fd_sc_hd__inv_4, npc, [(0,0.975,2.3,1.345)])
R(sky130_fd_sc_hd__inv_4, pwell_pin, [(0.145,-0.085,0.315,0.085)])
R(sky130_fd_sc_hd__inv_4, boundary2, [(0,0,2.3,2.72)])
sky130_fd_sc_hd__inv_4.add(gdstk.FlexPath([(0,2.72),(2.3,2.72)], 0.48, ends="flush", simple_path=True, layer=68, datatype=20))  # met1
sky130_fd_sc_hd__inv_4.add(gdstk.FlexPath([(0,0),(2.3,0)], 0.48, ends="flush", simple_path=True, layer=68, datatype=20))  # met1
sky130_fd_sc_hd__inv_4.add(gdstk.Label('Y', (2.07,0.85), layer=67, texttype=5))
sky130_fd_sc_hd__inv_4.add(gdstk.Label('Y', (2.07,1.19), layer=67, texttype=5))
sky130_fd_sc_hd__inv_4.add(gdstk.Label('Y', (2.07,1.53), layer=67, texttype=5))
sky130_fd_sc_hd__inv_4.add(gdstk.Label('A', (0.23,1.19), layer=67, texttype=5))
sky130_fd_sc_hd__inv_4.add(gdstk.Label('A', (0.69,1.19), layer=67, texttype=5))
sky130_fd_sc_hd__inv_4.add(gdstk.Label('A', (1.15,1.19), layer=67, texttype=5))
sky130_fd_sc_hd__inv_4.add(gdstk.Label('A', (1.61,1.19), layer=67, texttype=5))
sky130_fd_sc_hd__inv_4.add(gdstk.Label('VPB', (0.23,2.72), layer=64, texttype=5))
sky130_fd_sc_hd__inv_4.add(gdstk.Label('VNB', (0.23,0), layer=64, texttype=59))
sky130_fd_sc_hd__inv_4.add(gdstk.Label('VPWR', (0.23,2.72), layer=68, texttype=5))
sky130_fd_sc_hd__inv_4.add(gdstk.Label('VGND', (0.23,0), layer=68, texttype=5))
sky130_fd_sc_hd__inv_4.add(gdstk.Label('inv_4', (0,0), layer=83, texttype=44))

pfd_with_buffers = lib.new_cell('pfd_with_buffers')
R(pfd_with_buffers, nwell, [(27.49,-6.61,28.73,-5.16), (24.54,-3.27,25.78,-1.82), (30.36,0.08,31.6,1.53)])
R(pfd_with_buffers, tap, [(27.61,-7.86,28.03,-7.13), (27.67,-6.36,28.5,-5.39), (24.32,-4.61,24.74,-3.88), (24.72,-3.02,25.55,-2.05), (30.44,-1.18,30.86,-0.45), (30.54,0.33,31.37,1.3)])
R(pfd_with_buffers, licon, [(27.74,-7.555,27.91,-7.385), (28,-6.15,28.17,-5.98), (28,-5.81,28.17,-5.64), (24.45,-4.305,24.62,-4.135), (25.05,-2.81,25.22,-2.64), (25.05,-2.47,25.22,-2.3), (30.57,-0.875,30.74,-0.705), (30.87,0.54,31.04,0.71), (30.87,0.88,31.04,1.05)])
R(pfd_with_buffers, li1, [(27.29,-8.15,28.03,-8), (27.14,-8,28.03,-7.97), (27.61,-7.97,28.03,-7.13), (10.31,-7.25,10.83,-7.09), (10.31,-7.09,11.25,-6.45), (27.14,-7.05,27.46,-6.55), (20.34,-7.01,20.51,-6.78), (24.23,-6.99,25.12,-6.75), (22.48,-6.95,22.65,-6.77), (10.31,-6.45,10.83,-6.13), (27.67,-6.36,28.5,-5.44), (12.51,-5.62,12.7,-5.42), (27.3,-5.44,28.5,-5.25), (24.32,-4.81,24.74,-4.65), (23.1,-4.65,24.74,-4.64), (24.32,-4.64,24.74,-3.88), (19.04,-3.69,19.29,-3.22), (21.1,-3.66,22.14,-3.41), (23.07,-3.59,23.32,-3.42), (23.76,-3.58,24.01,-3.41), (24.72,-3.02,25.55,-2.1), (24.35,-2.1,25.55,-1.9), (30.17,-1.47,30.86,-1.36), (30.02,-1.36,30.86,-1.28), (30.44,-1.28,30.86,-0.45), (10.44,-0.67,10.9,-0.4), (10.44,-0.4,11.18,0.23), (30.03,-0.38,30.28,0.1), (20.3,-0.36,20.54,-0.07), (24.48,-0.3,25.34,-0.07), (27.18,-0.3,28.04,-0.07), (22.68,-0.29,22.85,-0.11), (10.44,0.23,10.9,0.33), (30.54,0.33,31.37,1.24), (12.5,1.02,12.69,1.31), (30.17,1.24,31.37,1.45)])
A(pfd_with_buffers, mcon, 10.485, -7.135, 0.17, 0.17, 1, 3, 0, 0.36)
A(pfd_with_buffers, mcon, 10.585, -0.615, 0.17, 0.17, 1, 3, 0, 0.36)
R(pfd_with_buffers, mcon, [(20.34,-6.98,20.51,-6.81), (22.48,-6.945,22.65,-6.775), (27.215,-6.885,27.385,-6.715), (23.11,-3.59,23.28,-3.42), (23.8,-3.58,23.97,-3.41), (19.08,-3.54,19.25,-3.37), (20.335,-0.3,20.505,-0.13), (22.68,-0.285,22.85,-0.115), (30.07,-0.225,30.24,-0.055)])
R(pfd_with_buffers, met1_pin, [(30.53,-9.3,31.53,-8.3), (31.83,-7.31,32.83,-6.31), (7.86,-7.23,8.86,-6.23), (7.86,-0.61,8.86,0.39), (31.83,-0.56,32.83,0.44), (9.56,1.57,10.56,2.57)])
R(pfd_with_buffers, met1, [(30.53,-9.3,31.53,-8.31), (20.66,-8.31,31.53,-7.83), (30.87,-7.83,31.53,-4.97), (10.28,-7.31,10.86,-7.12), (31.83,-7.31,32.83,-7.09), (7.86,-7.23,8.86,-7.12), (7.86,-7.12,8.91,-6.38), (10.28,-7.12,11.5,-6.38), (27.11,-7.11,27.92,-7.09), (27.11,-7.09,28.49,-6.49), (31.78,-7.09,32.83,-6.49), (20.31,-7.07,20.54,-7.05), (22.38,-7.07,22.74,-6.76), (20.2,-7.05,20.64,-6.74), (18.22,-6.94,18.65,-6.66), (22.45,-6.76,22.68,-6.71), (20.31,-6.74,20.54,-6.72), (31.83,-6.49,32.83,-6.31), (7.86,-6.38,8.86,-6.23), (10.28,-6.38,10.86,-6.07), (9.56,-5.59,11.13,-5.11), (20.66,-5.58,28.26,-5.11), (9.56,-5.11,10.22,-2.25), (18.91,-4.97,31.53,-4.49), (30.87,-4.49,31.53,-1.63), (19.01,-3.75,19.32,-3.7), (18.64,-3.7,19.32,-3.2), (21.1,-3.66,22.17,-3.4), (22.96,-3.65,23.4,-3.34), (23.66,-3.65,24.1,-3.34), (19.01,-3.2,19.32,-3.16), (9.56,-2.25,18.91,-1.77), (21.21,-2.25,21.59,-1.77), (9.56,-1.77,10.22,1.09), (20.66,-1.63,22.52,-1.15), (24.81,-1.63,27.87,-1.15), (28.26,-1.63,31.53,-1.15), (10.41,-0.73,10.93,-0.41), (7.86,-0.61,8.86,0.39), (31.83,-0.56,32.83,-0.44), (30,-0.44,32.83,0.16), (20.27,-0.42,20.57,-0.37), (10.41,-0.41,11.47,0.23), (20.2,-0.37,20.64,-0.06), (22.57,-0.36,22.93,-0.03), (18.22,-0.28,18.65,0), (20.27,-0.06,20.57,-0.01), (31.83,0.16,32.83,0.44), (10.41,0.23,10.93,0.39), (9.56,1.09,11.12,1.57), (24.81,1.09,26.59,1.57), (27.49,1.09,27.87,1.57), (28.75,1.09,30.52,1.57), (20.66,1.1,22.7,1.57), (9.56,1.57,10.56,2.57)])
R(pfd_with_buffers, via, [(27.6,-7.035,27.75,-6.885), (31.93,-7.025,32.08,-6.875), (22.485,-6.99,22.635,-6.84), (8.575,-6.985,8.725,-6.835), (11.165,-6.985,11.315,-6.835), (20.345,-6.97,20.495,-6.82), (18.36,-6.875,18.51,-6.725), (27.6,-6.715,27.75,-6.565), (31.93,-6.705,32.08,-6.555), (8.575,-6.665,8.725,-6.515), (11.165,-6.665,11.315,-6.515), (23.105,-3.57,23.255,-3.42), (23.805,-3.57,23.955,-3.42), (18.745,-3.525,18.895,-3.375), (19.065,-3.525,19.215,-3.375), (8.455,-0.335,8.605,-0.185), (11.135,-0.325,11.285,-0.175), (20.345,-0.29,20.495,-0.14), (22.675,-0.27,22.825,-0.12), (18.36,-0.215,18.51,-0.065), (8.455,-0.015,8.605,0.135), (11.135,-0.005,11.285,0.145)])
R(pfd_with_buffers, met2, [(8.44,-7.17,11.45,-6.33), (27.48,-7.16,27.87,-7.09), (31.83,-7.14,32.18,-7.09), (20.25,-7.12,22.72,-6.7), (27.48,-7.09,32.18,-6.49), (18.27,-6.99,18.6,-3.75), (20.25,-6.7,20.59,-3.66), (27.48,-6.49,27.87,-6.44), (31.83,-6.49,32.18,-6.44), (18.27,-3.75,19.27,-3.15), (23.01,-3.7,23.35,-3.66), (23.71,-3.7,24.05,-2.82), (20.25,-3.66,23.35,-3.37), (23.01,-3.37,23.35,-3.29), (18.27,-3.15,18.6,0.05), (20.25,-2.82,24.05,-2.53), (20.25,-2.53,20.59,-0.41), (8.32,-0.47,11,-0.46), (8.32,-0.46,11.42,0.27), (20.25,-0.41,22.92,0.03), (8.72,0.27,11.42,0.28), (8.72,0.28,11,0.3)])
R(pfd_with_buffers, nsdm, [(22.015,-7.96,22.38,-7.06), (27.545,-6.485,28.625,-5.265), (24.595,-3.145,25.675,-1.925), (30.415,0.205,31.495,1.425)])
R(pfd_with_buffers, psdm, [(27.485,-7.985,28.155,-7.05), (26.86,-7.05,28.155,-7.005), (26.86,-7.005,27.865,-6.71), (22.015,-6.71,22.38,-5.46), (27.24,-6.71,27.865,-6.665), (24.195,-4.735,24.865,-3.755), (30.315,-1.305,30.985,-0.37), (29.73,-0.37,30.985,-0.325), (29.73,-0.325,30.695,-0.03), (30.11,-0.03,30.695,0.015)])
pfd_with_buffers.add(gdstk.Reference(sky130_fd_sc_hd__dfrbp_2, (11.09,-1.39)))
pfd_with_buffers.add(gdstk.Reference(sky130_fd_sc_hd__dfrbp_2, (11.09,-8.07)))
pfd_with_buffers.add(gdstk.Reference(sky130_fd_sc_hd__and2_2, (24.35,-4.73), rotation=pi, x_reflection=True))
pfd_with_buffers.add(gdstk.Reference(sky130_fd_sc_hd__inv_4, (21.21,-4.73), rotation=pi, x_reflection=True))
pfd_with_buffers.add(gdstk.Reference(sky130_fd_sc_hd__inv_4, (22.32,-8.07)))
pfd_with_buffers.add(gdstk.Reference(sky130_fd_sc_hd__inv_4, (25,-8.07)))
pfd_with_buffers.add(gdstk.Reference(sky130_fd_sc_hd__inv_4, (22.51,-1.39)))
pfd_with_buffers.add(gdstk.Reference(sky130_fd_sc_hd__inv_4, (25.19,-1.39)))
pfd_with_buffers.add(gdstk.Reference(sky130_fd_sc_hd__inv_4, (27.87,-1.39)))
pfd_with_buffers.add(gdstk.Label('QA', (32.33,-0.06), layer=68, texttype=5))
pfd_with_buffers.add(gdstk.Label('A', (8.36,-0.11), layer=68, texttype=5))
pfd_with_buffers.add(gdstk.Label('VDD', (10.06,2.07), layer=68, texttype=5))
pfd_with_buffers.add(gdstk.Label('VSS', (31.03,-8.8), layer=68, texttype=5))
pfd_with_buffers.add(gdstk.Label('B', (8.36,-6.73), layer=68, texttype=5))
pfd_with_buffers.add(gdstk.Label('QB', (32.33,-6.81), layer=68, texttype=5))

lib.write_gds('pfd_with_buffers.gds')
